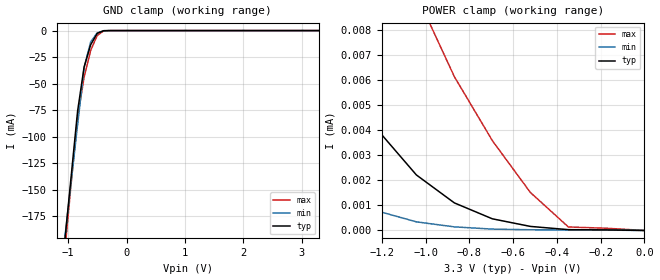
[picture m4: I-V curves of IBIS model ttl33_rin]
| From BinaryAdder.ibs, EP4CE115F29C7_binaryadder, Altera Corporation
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[Model]   ttl33_rin
Model_type  Input
Polarity   Non-Inverting
Vinl   = 0.8
Vinh   = 1.7
| C_comp values for differential type row I/O
C_comp 5.0pF   5.0pF   5.0pF
[Temperature Range] 25   85   0
[Voltage Range]  3.3   3.085   3.465
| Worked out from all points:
|   GND clamp passes 1 mA (typ) near -0.43 V on its own axis
[GND Clamp]
| voltage   I (typ)   I (min)   I (max)
-3.3V     -1.449A    -1.286A    -1.533A
-1.063V   -200.8mA   -197.7mA   -211mA
-950.8mV  -138.4mA   -143.3mA   -144.9mA
-839mV    -75.96mA   -88.9mA    -82.12mA
-727.1mV  -34.33mA   -34.92mA   -43.75mA
-615.2mV  -13.39mA   -10.72mA   -18.82mA
-503.4mV  -2.65mA    -2.136mA   -4.609mA
-391.5mV  -131.9uA   -144.2uA   -303.1uA
-279.7mV  -2.477uA   -5.258uA   -4.774uA
3.3V      0A         0A         0A
[POWER Clamp]
| voltage   I (typ)   I (min)   I (max)
-3.3V     255.8uA    174.6uA    337.7uA
-1.911V   28.08uA    11.14uA    68.9uA
-1.737V   17.97uA    6.876uA    39.23uA
-1.563V   11.64uA    3.732uA    28uA
-1.389V   6.958uA    1.745uA    19.82uA
-1.216V   3.98uA     766.9nA    13.7uA
-1.042V   2.218uA    344.4nA    9.42uA
-868.4mV  1.101uA    143.7nA    6.142uA
-694.7mV  465.5nA    54.34nA    3.587uA
-521.1mV  162.3nA    28.75nA    1.518uA
-347.4mV  32.72nA    21.8nA     140nA
0V        0A         0A         0A
